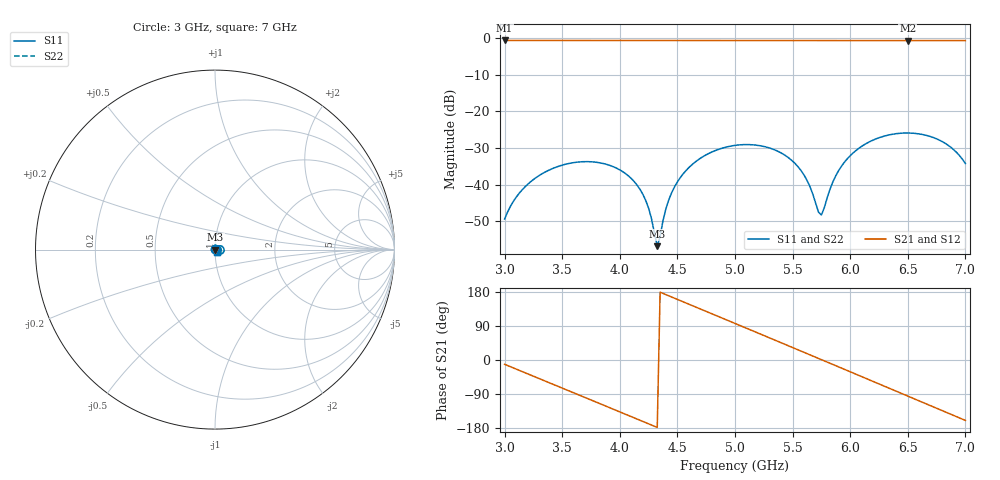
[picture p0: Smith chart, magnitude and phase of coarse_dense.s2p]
! yapnr rf: line-osh-w-w3p00-l60-w-nom, footprint re-simulated (optimization grid)
! spec sha256 28bb9f17b3e5b3aa64583b31e161a109e9189072f3f3cb0fa6c41ea1d7ed3470
! 2 ports renormalized to 50 ohm, e^(+jwt) convention
# GHz S RI R 50
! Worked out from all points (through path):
!   161 points, 3 GHz to 7 GHz, reference 50 ohm
!   highest |S21| = -0.60 dB at 3 GHz (marker M1); lowest = -0.6 dB at 6.5 GHz (marker M2)
!   group delay of S21, straight-line fit = 353 ps
!   lowest |S11| = -56.9 dB at 4.325 GHz (marker M3), VSWR 1.00, Z = 50.1 - j0.0217 ohm
!   |S11| at or under -10 dB: start of sweep to end of sweep
!   |S22| runs from -56.9 to -25.9 dB; largest |S21 - S12| = 0
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3  0.000976 0.00323  0.9145 -0.1841  0.9145 -0.1841  0.000976 0.00323
3.25  0.00837 0.00818  0.6855 -0.6322  0.6855 -0.6322  0.00837 0.00818
3.675  0.0203 -0.00276  -0.0977 -0.9268  -0.0977 -0.9268  0.0203 -0.00276
3.925  0.0142 -0.011  -0.5669 -0.7395  -0.5669 -0.7395  0.0142 -0.011
4.125  0.0056 -0.00944  -0.8278 -0.4275  -0.8278 -0.4275  0.0056 -0.00944
4.25  0.00203 -0.00429  -0.9127 -0.1862  -0.9127 -0.1862  0.00203 -0.00429
4.325  0.00142 -0.000216  -0.9309 -0.0334  -0.9309 -0.0334  0.00142 -0.000216
4.35  0.00152 0.00122  -0.9312 0.018  -0.9312 0.018  0.00152 0.00122
4.425  0.00281 0.0055  -0.9154 0.1712  -0.9154 0.1712  0.00281 0.0055
4.55  0.008 0.0115  -0.8339 0.4142  -0.8339 0.4142  0.008 0.0115
5  0.0342 0.00245  -0.1058 0.924  -0.1058 0.924  0.0342 0.00245
5.2  0.0324 -0.0113  0.3009 0.8798  0.3009 0.8798  0.0324 -0.0113
5.425  0.0185 -0.0178  0.6858 0.6278  0.6858 0.6278  0.0185 -0.0178
5.575  0.00853 -0.0128  0.8538 0.3682  0.8538 0.3682  0.00853 -0.0128
5.675  0.00457 -0.00585  0.914 0.1703  0.914 0.1703  0.00457 -0.00585
5.75  0.00381 0.000453  0.9296 0.0157  0.9296 0.0157  0.00381 0.000453
5.85  0.00615 0.00901  0.9098 -0.1906  0.9098 -0.1906  0.00615 0.00901
5.975  0.0141 0.0175  0.8218 -0.4339  0.8218 -0.4339  0.0141 0.0175
6.35  0.0472 0.00968  0.2263 -0.9004  0.2263 -0.9004  0.0472 0.00968
6.5  0.0504 -0.00495  -0.0831 -0.9245  -0.0831 -0.9245  0.0504 -0.00495
6.8  0.0301 -0.0242  -0.6416 -0.6714  -0.6416 -0.6714  0.0301 -0.0242
7  0.0113 -0.0157  -0.8703 -0.3256  -0.8703 -0.3256  0.0113 -0.0157
